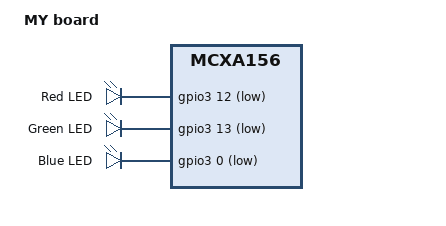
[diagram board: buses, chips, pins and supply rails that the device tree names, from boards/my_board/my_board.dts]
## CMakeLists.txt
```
cmake_minimum_required(VERSION 3.20.0)
 list (APPEND BOARD_ROOT ${CMAKE_CURRENT_SOURCE_DIR})
 #set(EXTRA_ZEPHYR_MODULES ${CMAKE_CURRENT_SOURCE_DIR})
find_package(Zephyr REQUIRED )
project(my_zephyr_app)

target_sources(app PRIVATE src/main.cpp)
```

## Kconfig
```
menuconfig  LED_SUBSYSTEM
  bool  "LED Subsystem"
  default n

if  LED_SUBSYSTEM
  config APP_HEART_BEAT_PERIOD
    int "HEART BEAT TOGGLE LED PERIOD mS"
    default 500
    range 100 2000 
  choice
       
      prompt "LED Blinking Speed"
      default BLINK_LED_250_MS

      config BLINK_LED_250_MS
      bool "250 ms (fast)"
      config BLINK_LED_500_MS
      bool "500 ms (medium-fast)"
      config BLINK_LED_1000_MS
      bool "1s (medium)"
      config BLINK_LED_2000_MS
      bool "2s (slow)"

  endchoice

  config BLINK_SLEEP_MS
      int    # hidden
       

      default 100 if BLINK_LED_250_MS
      default 500 if BLINK_LED_500_MS
      default 1000 if BLINK_LED_1000_MS
      default 2000 if BLINK_LED_2000_MS

      default 0
      help
        Time in milliseconds to sleep between toggling the LED. Adjust this value to change the blinking speed of the LED.

  menuconfig  ADVANCED_LED_SETTINGS
    bool  "Advanced LED Settings"
     
    default n

    config LED_BRIGHTNESS_MS
      depends on ADVANCED_LED_SETTINGS
      int "LED Brightness"
      default 100
      range 0 100

    config LED_FADE_DURATION_MS
      depends on ADVANCED_LED_SETTINGS
      int "LED Fade Duration (ms)"
      default 500
      range  0 5000


menu "Expert Settings"
   visible if LED_SUBSYSTEM
   depends on ADVANCED_LED_SETTINGS 
   config ENABLE_LED_DEBUGGING
      bool "Enable LED Debugging"
      default n
      help
        Enable this option to print debug information about LED state changes and timing. This can be useful for troubleshooting and optimizing LED behavior.

    config CUSTOM_BLINk_PATTERN
      bool "Custom Blink Pattern" 
      default n 
      help
        Enable this option to define a custom blink pattern for the LED. When enabled, you can specify a sequence of on/off durations to create unique blinking effects.
endmenu                
       
endif   
       


source "Kconfig.zephyr"
```

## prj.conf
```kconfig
CONFIG_GPIO=y
CONFIG_LOG=y
CONFIG_LED_SUBSYSTEM=y
```

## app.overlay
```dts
/{
	aliases{
                app-led =&blue_led ;

	};
};
```

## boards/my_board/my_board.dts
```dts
/*
 * Copyright 2024 NXP
 *
 * SPDX-License-Identifier: Apache-2.0
 */

/dts-v1/;

#include <nxp/nxp_mcxa156.dtsi>
#include "frdm_mcxa156-pinctrl.dtsi"
#include <zephyr/dt-bindings/input/input-event-codes.h>
#include <freq.h>

/ {
	model = "MY board";
	compatible = "ar,my-board";

	aliases{
		led0 = &red_led;
		led1 = &green_led;
		led2 = &red_led;
	 
	};

	chosen {
		zephyr,sram = &sram0;
		zephyr,flash = &flash;
		zephyr,flash-controller = &fmu;
		zephyr,code-partition = &slot0_partition;
		zephyr,console = &lpuart0;
		 
		 
		 
	};

	leds {
		compatible = "gpio-leds";
		red_led: led_0 {
			gpios = <&gpio3 12 GPIO_ACTIVE_LOW>;
			label = "Red LED";
		};
		green_led: led_1 {
			gpios = <&gpio3 13 GPIO_ACTIVE_LOW>;
			label = "Green LED";
		};
		blue_led: led_2 {
			gpios = <&gpio3 0 GPIO_ACTIVE_LOW>;
			label = "Blue LED";
		};
	};

 
 
};

&gpio0 {
	status = "okay";
};

&gpio1 {
	status = "okay";
};

&gpio2 {
	status = "okay";
};

&gpio3 {
	status = "okay";
};

&gpio4 {
	status = "okay";
};

 
&flash {
	partitions {
		compatible = "fixed-partitions";
		#address-cells = <1>;
		#size-cells = <1>;

		boot_partition: partition@0 {
			label = "mcuboot";
			reg = <0x00000000 DT_SIZE_K(64)>;
			read-only;
		};
		slot0_partition: partition@10000 {
			label = "image-0";
			reg = <0x00010000 DT_SIZE_K(424)>;
		};
		slot1_partition: partition@7a000 {
			label = "image-1";
			reg = <0x0007a000 DT_SIZE_K(424)>;
		};
		storage_partition: partition@e4000 {
			label = "storage";
			reg = <0x000e4000 DT_SIZE_K(112)>;
		};
	};
};
```

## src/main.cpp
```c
#include <zephyr/drivers/gpio.h>
#include <zephyr/kernel.h>
#include <zephyr/logging/log.h>
 

 
#define LED_NODE  DT_ALIAS(app_led)
static const struct gpio_dt_spec led = GPIO_DT_SPEC_GET(LED_NODE, gpios);

LOG_MODULE_REGISTER(main, LOG_LEVEL_INF);

int main(void)
{
    int ret=0;
    ret +=  device_is_ready(led.port);
    if(ret!=0){LOG_INF("Error Init the device");}

    ret +=gpio_pin_configure_dt(&led,GPIO_OUTPUT);
    if(ret!=0){LOG_INF("Error Configuring  the device");}


    while (1) {
 
        gpio_pin_toggle_dt(&led);
        k_msleep(CONFIG_APP_HEART_BEAT_PERIOD);
    }
    return 0;
}
```
